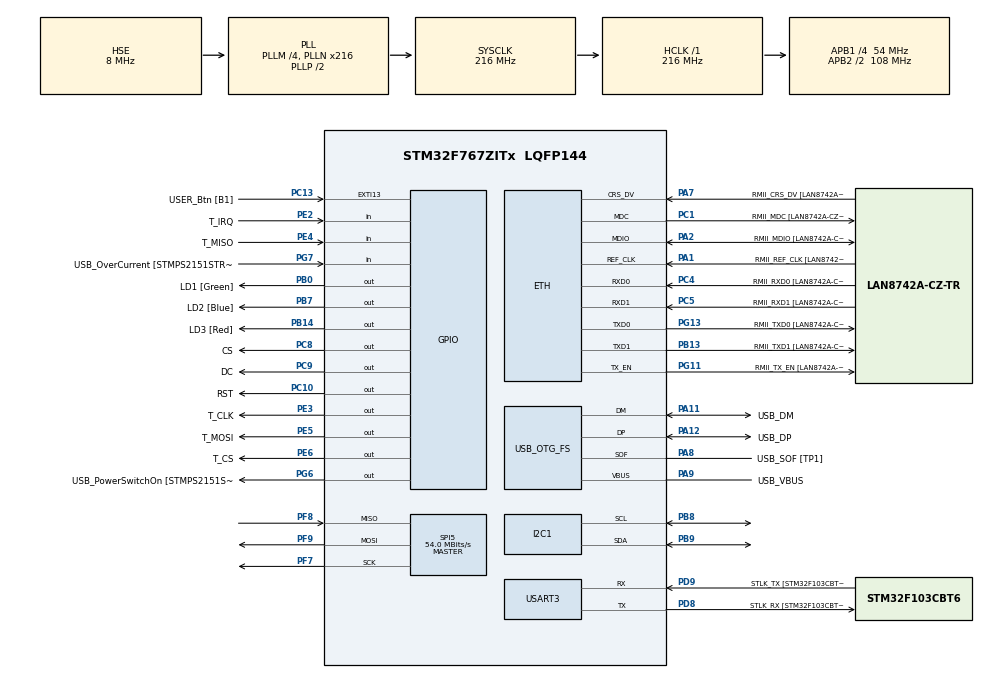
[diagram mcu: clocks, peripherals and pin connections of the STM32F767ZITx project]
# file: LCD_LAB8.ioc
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CORTEX_M7.ART_ACCELERATOR_ENABLE=1
CORTEX_M7.CPU_DCache=Enabled
CORTEX_M7.CPU_ICache=Enabled
CORTEX_M7.PREFETCH_ENABLE=1
ETH.MediaInterface=HAL_ETH_RMII_MODE
ETH.PHY_Name=LAN8742A_PHY_ADDRESS
ETH.PHY_Value=0
ETH.PhyAddress=0
I2C1.Timing=0x20404768
Mcu.Family=STM32F7
Mcu.Name=STM32F767ZITx
Mcu.Package=LQFP144
NVIC.PriorityGroup=NVIC_PRIORITYGROUP_2
NVIC.TIM2_IRQn=true\:1\:0\:true\:false\:true\:true\:true\:true
PA1.GPIO_Label=RMII_REF_CLK [LAN8742A-CZ-TR_REFCLK0]
PA1.Mode=RMII
PA1.Signal=ETH_REF_CLK
PA11.GPIO_Label=USB_DM
PA11.Mode=Device_Only
PA11.Signal=USB_OTG_FS_DM
PA12.GPIO_Label=USB_DP
PA12.Mode=Device_Only
PA12.Signal=USB_OTG_FS_DP
PA13.GPIO_Label=TMS
PA13.Mode=Serial_Wire
PA13.Signal=SYS_JTMS-SWDIO
PA14.GPIO_Label=TCK
PA14.Mode=Serial_Wire
PA14.Signal=SYS_JTCK-SWCLK
PA15.Signal=S_TIM2_CH1_ETR
PA2.GPIO_Label=RMII_MDIO [LAN8742A-CZ-TR_MDIO]
PA2.Mode=RMII
PA2.Signal=ETH_MDIO
PA7.GPIO_Label=RMII_CRS_DV [LAN8742A-CZ-TR_CRS_DV]
PA7.Mode=RMII
PA7.Signal=ETH_CRS_DV
PA8.GPIO_Label=USB_SOF [TP1]
PA8.Mode=Activate_SOF_FS
PA8.Signal=USB_OTG_FS_SOF
PA9.GPIO_Label=USB_VBUS
PA9.Mode=Activate_VBUS
PA9.Signal=USB_OTG_FS_VBUS
PB0.GPIO_Label=LD1 [Green]
PB0.Signal=GPIO_Output
PB13.GPIO_Label=RMII_TXD1 [LAN8742A-CZ-TR_TXD1]
PB13.Mode=RMII
PB13.Signal=ETH_TXD1
PB14.GPIO_Label=LD3 [Red]
PB14.Signal=GPIO_Output
PB3.GPIO_Label=SWO
PB3.Signal=SYS_JTDO-SWO
PB7.GPIO_Label=LD2 [Blue]
PB7.Signal=GPIO_Output
PB8.Mode=I2C
PB8.Signal=I2C1_SCL
PB9.Mode=I2C
PB9.Signal=I2C1_SDA
PC1.GPIO_Label=RMII_MDC [LAN8742A-CZ-TR_MDC]
PC1.Mode=RMII
PC1.Signal=ETH_MDC
PC10.GPIO_Label=RST
PC10.GPIO_Speed=GPIO_SPEED_FREQ_VERY_HIGH
PC10.Signal=GPIO_Output
PC13.GPIO_Label=USER_Btn [B1]
PC13.Signal=GPXTI13
PC14/OSC32_IN.Mode=LSE-External-Oscillator
PC14/OSC32_IN.Signal=RCC_OSC32_IN
PC15/OSC32_OUT.Mode=LSE-External-Oscillator
PC15/OSC32_OUT.Signal=RCC_OSC32_OUT
PC4.GPIO_Label=RMII_RXD0 [LAN8742A-CZ-TR_RXD0]
PC4.Mode=RMII
PC4.Signal=ETH_RXD0
PC5.GPIO_Label=RMII_RXD1 [LAN8742A-CZ-TR_RXD1]
PC5.Mode=RMII
PC5.Signal=ETH_RXD1
PC8.GPIO_Label=CS
PC8.GPIO_Speed=GPIO_SPEED_FREQ_VERY_HIGH
PC8.Signal=GPIO_Output
PC9.GPIO_Label=DC
PC9.GPIO_Speed=GPIO_SPEED_FREQ_VERY_HIGH
PC9.Signal=GPIO_Output
PD8.GPIO_Label=STLK_RX [STM32F103CBT6_PA3]
PD8.Mode=Asynchronous
PD8.Signal=USART3_TX
PD9.GPIO_Label=STLK_TX [STM32F103CBT6_PA2]
PD9.Mode=Asynchronous
PD9.Signal=USART3_RX
PE2.GPIO_Label=T_IRQ
PE2.Signal=GPIO_Input
PE3.GPIO_Label=T_CLK
PE3.GPIO_Speed=GPIO_SPEED_FREQ_VERY_HIGH
PE3.Signal=GPIO_Output
PE4.GPIO_Label=T_MISO
PE4.Signal=GPIO_Input
PE5.GPIO_Label=T_MOSI
PE5.GPIO_Speed=GPIO_SPEED_FREQ_VERY_HIGH
PE5.Signal=GPIO_Output
PE6.GPIO_Label=T_CS
PE6.Signal=GPIO_Output
PF7.Mode=Full_Duplex_Master
PF7.Signal=SPI5_SCK
PF8.Mode=Full_Duplex_Master
PF8.Signal=SPI5_MISO
PF9.Mode=Full_Duplex_Master
PF9.Signal=SPI5_MOSI
PG11.GPIO_Label=RMII_TX_EN [LAN8742A-CZ-TR_TXEN]
PG11.Mode=RMII
PG11.Signal=ETH_TX_EN
PG13.GPIO_Label=RMII_TXD0 [LAN8742A-CZ-TR_TXD0]
PG13.Mode=RMII
PG13.Signal=ETH_TXD0
PG6.GPIO_Label=USB_PowerSwitchOn [STMPS2151STR_EN]
PG6.Signal=GPIO_Output
PG7.GPIO_Label=USB_OverCurrent [STMPS2151STR_FAULT]
PG7.Signal=GPIO_Input
PH0/OSC_IN.GPIO_Label=MCO [STM32F103CBT6_PA8]
PH0/OSC_IN.Mode=HSE-External-Clock-Source
PH0/OSC_IN.Signal=RCC_OSC_IN
PH1/OSC_OUT.Mode=HSE-External-Clock-Source
PH1/OSC_OUT.Signal=RCC_OSC_OUT
ProjectManager.HeapSize=0x200
ProjectManager.StackSize=0x400
ProjectManager.TargetToolchain=STM32CubeIDE
RCC.48MHZClocksFreq_Value=24000000
RCC.AHBFreq_Value=216000000
RCC.APB1CLKDivider=RCC_HCLK_DIV4
RCC.APB1Freq_Value=54000000
RCC.APB1TimFreq_Value=108000000
RCC.APB2CLKDivider=RCC_HCLK_DIV2
RCC.APB2Freq_Value=108000000
RCC.APB2TimFreq_Value=216000000
RCC.CortexFreq_Value=216000000
RCC.HCLKFreq_Value=216000000
RCC.HSE_VALUE=8000000
RCC.HSI_VALUE=16000000
RCC.PLLM=4
RCC.PLLMUL=RCC_PLL_MUL9
RCC.PLLN=216
RCC.PLLQ=9
RCC.PRESCALERUSB=RCC_USBCLKSOURCE_PLL_DIV1_5
RCC.SYSCLKFreq_VALUE=216000000
RCC.SYSCLKSource=RCC_SYSCLKSOURCE_PLLCLK
RCC.SYSCLKSourceVirtual=RCC_SYSCLKSOURCE_PLLCLK
RCC.USBFreq_Value=48000000
RCC.VCOOutputFreq_Value=432000000
SH.S_TIM2_CH1_ETR.0=TIM2_CH1
SPI5.CalculateBaudRate=54.0 MBits/s
SPI5.DataSize=SPI_DATASIZE_8BIT
SPI5.Direction=SPI_DIRECTION_2LINES
SPI5.Mode=SPI_MODE_MASTER
SPI5.NSSPMode=SPI_NSS_PULSE_DISABLE
SPI5.VirtualType=VM_MASTER
TIM2.Period=1000000-1
TIM2.Prescaler=108-1
USART3.VirtualMode-Asynchronous=VM_ASYNC
USB_OTG_FS.VirtualMode=Device_Only
VP_TIM2_VS_ClockSourceINT.Mode=Internal
board=NUCLEO-F767ZI

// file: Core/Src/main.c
/* USER CODE BEGIN Header */
/**
  ******************************************************************************
  * @file           : main.c
  * @brief          : Main program body
  ******************************************************************************
  * @attention
  *
  * Copyright (c) 2025 STMicroelectronics.
  * All rights reserved.
  *
  * This software is licensed under terms that can be found in the LICENSE file
  * in the root directory of this software component.
  * If no LICENSE file comes with this software, it is provided AS-IS.
  *
  ******************************************************************************
  */
/* USER CODE END Header */
#include "main.h"
#include "eth.h"
#include "i2c.h"
#include "spi.h"
#include "tim.h"
#include "usart.h"
#include "usb_otg.h"
#include "gpio.h"
#include "stdio.h"
#include "string.h"

/* USER CODE BEGIN Includes */
#include "ILI9341_GFX.h"
#include "ILI9341_Touchscreen.h"
#include "ILI9341_STM32_Driver.h"
#include "image.h"
#include "conan.h"

/* USER CODE END Includes */

/* USER CODE BEGIN PTD */

int MAX_X = ILI9341_SCREEN_WIDTH;
int MAX_Y = ILI9341_SCREEN_HEIGHT;

float sensor_value = 27.1;
char sensor_value_text[100];

int isUpdate = 1;
int isUpdateSecondPage = 1;

int red_value = 0;
int green_value = 0;
int blue_value = 0;
int color_red = RED;
int color_green = GREEN;
int color_blue = BLUE;

int count_time = 0;

int next_screen = 0;
uint16_t color_big_circle;

int increase_progress_bar_rate = 10;

uint8_t step = 0 ;
float h=30.0, t= 40.0 ;

char str[50];
uint8_t cmdBuffer[3];
uint8_t dataBuffer[8];
HAL_StatusTypeDef status;

/* USER CODE END PTD */

void SystemClock_Config(void);
/* USER CODE BEGIN PFP */
char* isDetectCircle(uint16_t pos_x, uint16_t pos_y);
uint16_t mixedColor(int red_value, int green_value, int blue_value);
int is_detect_picture(uint16_t pos_x, uint16_t pos_y);

uint16_t CRC16_2(uint8_t *ptr, uint8_t length);
/* USER CODE END PFP */

int main(void)
{

  /* Enable the CPU Cache */

  /* Enable I-Cache---------------------------------------------------------*/
  SCB_EnableICache();

  /* Enable D-Cache---------------------------------------------------------*/
  SCB_EnableDCache();

  /* MCU Configuration--------------------------------------------------------*/

  /* Reset of all peripherals, Initializes the Flash interface and the Systick. */
  HAL_Init();

  /* Configure the system clock */
  SystemClock_Config();

  /* Initialize all configured peripherals */
  MX_GPIO_Init();
  MX_ETH_Init();
  MX_USART3_UART_Init();
  MX_USB_OTG_FS_PCD_Init();
  MX_SPI5_Init();
  MX_TIM2_Init();
  MX_I2C1_Init();
  /* USER CODE BEGIN 2 */
  ILI9341_Init();

  cmdBuffer[0]= 0x03;
  cmdBuffer[1]= 0x00;
  cmdBuffer[2]= 0x04;

  /* USER CODE END 2 */

  /* Infinite loop */
  /* USER CODE BEGIN WHILE */

  ILI9341_Fill_Screen(WHITE);
  while (1)
  {
    /* USER CODE END WHILE */

    /* USER CODE BEGIN 3 */
	  if (next_screen == 1){
		  second_screen();
		  isUpdate = 1;
	  }
	  else{
//		  HAL_TIM_Base_Stop_IT(&htim2);
		  main_screen();
		  isUpdateSecondPage = 1;
	  }
  }
  /* USER CODE END 3 */
}

void SystemClock_Config(void)
{
  RCC_OscInitTypeDef RCC_OscInitStruct = {0};
  RCC_ClkInitTypeDef RCC_ClkInitStruct = {0};

  /** Configure LSE Drive Capability
  */
  HAL_PWR_EnableBkUpAccess();

  /** Configure the main internal regulator output voltage
  */
  __HAL_RCC_PWR_CLK_ENABLE();
  __HAL_PWR_VOLTAGESCALING_CONFIG(PWR_REGULATOR_VOLTAGE_SCALE1);

  /** Initializes the RCC Oscillators according to the specified parameters
  * in the RCC_OscInitTypeDef structure.
  */
  RCC_OscInitStruct.OscillatorType = RCC_OSCILLATORTYPE_HSE;
  RCC_OscInitStruct.HSEState = RCC_HSE_BYPASS;
  RCC_OscInitStruct.PLL.PLLState = RCC_PLL_ON;
  RCC_OscInitStruct.PLL.PLLSource = RCC_PLLSOURCE_HSE;
  RCC_OscInitStruct.PLL.PLLM = 4;
  RCC_OscInitStruct.PLL.PLLN = 216;
  RCC_OscInitStruct.PLL.PLLP = RCC_PLLP_DIV2;
  RCC_OscInitStruct.PLL.PLLQ = 9;
  RCC_OscInitStruct.PLL.PLLR = 2;
  if (HAL_RCC_OscConfig(&RCC_OscInitStruct) != HAL_OK)
  {
    Error_Handler();
  }

  /** Activate the Over-Drive mode
  */
  if (HAL_PWREx_EnableOverDrive() != HAL_OK)
  {
    Error_Handler();
  }

  /** Initializes the CPU, AHB and APB buses clocks
  */
  RCC_ClkInitStruct.ClockType = RCC_CLOCKTYPE_HCLK|RCC_CLOCKTYPE_SYSCLK
                              |RCC_CLOCKTYPE_PCLK1|RCC_CLOCKTYPE_PCLK2;
  RCC_ClkInitStruct.SYSCLKSource = RCC_SYSCLKSOURCE_PLLCLK;
  RCC_ClkInitStruct.AHBCLKDivider = RCC_SYSCLK_DIV1;
  RCC_ClkInitStruct.APB1CLKDivider = RCC_HCLK_DIV4;
  RCC_ClkInitStruct.APB2CLKDivider = RCC_HCLK_DIV2;

  if (HAL_RCC_ClockConfig(&RCC_ClkInitStruct, FLASH_LATENCY_7) != HAL_OK)
  {
    Error_Handler();
  }
}

/* USER CODE BEGIN 4 */

void draw_sensor_value(){

	//Wake up sensor
	HAL_I2C_Master_Transmit(&hi2c1, 0x5c << 1 , cmdBuffer, 3,  200);
	//Send reading cmd
	HAL_I2C_Master_Transmit(&hi2c1, 0x5c << 1 , cmdBuffer, 3,  200);

	HAL_Delay(1);

	//Receive sensor data
	HAL_I2C_Master_Receive(&hi2c1, 0x5c << 1, dataBuffer, 8, 200);

	uint16_t Rcrc = dataBuffer[7] << 8;
	Rcrc += dataBuffer[6];

	if (Rcrc == CRC16_2(dataBuffer, 6)) {
		uint16_t temperature = ((dataBuffer[4] & 0x7F) << 8 ) + dataBuffer[5];
		t = temperature / 10.0;
		t = (((dataBuffer[4] & 0x80) >> 7 ) == 1) ? (t *(-1)) : t;

		uint16_t humidity = (dataBuffer[2] << 8 ) + dataBuffer[3];
		h = humidity / 10.0;
	}

	ILI9341_Set_Rotation(SCREEN_HORIZONTAL_1);
	char hum[100];
	char temp[100];

//	*hum = "55.6%%RH";
//	*temp = "27.1C";

	sprintf(hum, "%.1f%%RH", h);
	sprintf(temp, "%.1fC", t);

	int font_size = 2;

	int text_pos_y = 38;
	int temp_pos_x = 22-4;
	int mois_pos_x = 160-4;

	ILI9341_Draw_Text(temp, temp_pos_x, text_pos_y, BLACK, font_size, WHITE);
	ILI9341_Draw_Text(hum, mois_pos_x, text_pos_y, BLACK, font_size, WHITE);

	ILI9341_Set_Rotation(SCREEN_VERTICAL_1);
}
void second_screen(){

	if(isUpdateSecondPage == 1){
		ILI9341_Draw_Image((const char*)image_lcd, SCREEN_HORIZONTAL_1);
		draw_text_character_info();

		HAL_TIM_Base_Start_IT(&htim2);

		isUpdateSecondPage = 0;
	}

	if(count_time == 5){
		ILI9341_Fill_Screen(WHITE);
		ILI9341_Set_Rotation(SCREEN_VERTICAL_1);
		next_screen = 0;
		count_time = 0;

		HAL_TIM_Base_Stop_IT(&htim2);
	}

//	ILI9341_Draw_Filled_Circle(8, 50, 3, RED);
//	ILI9341_Draw_Filled_Circle(121, 50, 3, RED);
//	ILI9341_Draw_Filled_Circle(8, 190, 3, RED);
//	ILI9341_Draw_Filled_Circle(121, 190, 3, RED);

	HAL_Delay(20);
	if(TP_Touchpad_Pressed()){
	  uint16_t x_pos = 0 ;
	  uint16_t y_pos = 0 ;

	  uint16_t pos_array[2];

	  if(TP_Read_Coordinates(pos_array) == TOUCHPAD_DATA_OK){
		  x_pos = pos_array[0];
		  y_pos = pos_array[1];

//		  back to first screen
		  if(is_detect_picture(x_pos, y_pos) == 1){
			  ILI9341_Fill_Screen(WHITE);
			  ILI9341_Set_Rotation(SCREEN_VERTICAL_1);
			  next_screen = 0;
			  count_time = 0;

			  HAL_TIM_Base_Stop_IT(&htim2);
		  }

	  }
	}

}

int is_detect_picture(uint16_t pos_x, uint16_t pos_y ){
	int picture_x1 = 8;
	int picture_x2 = 121;
	int picture_y1 = 50;
	int picture_y2 = 190;

//	ILI9341_Draw_Filled_Circle(picture_x1, picture_y1, 2, RED);
//	ILI9341_Draw_Filled_Circle(picture_x1, picture_y2, 2, RED);
//	ILI9341_Draw_Filled_Circle(picture_x2, picture_y1, 2, RED);
//	ILI9341_Draw_Filled_Circle(picture_x2, picture_y2, 2, RED);

	uint8_t in_x = (pos_x > picture_x1) && (pos_x < picture_x2);
	uint8_t in_y = (pos_y > picture_y1) && (pos_y < picture_y2);

	if(in_x && in_y){
		return 1;
	}
	return 0;
}

void draw_text_character_info(){
	char group[]      = "Group No.41";
	char first_name[] = "   Jimmy  ";
	char last_name[]  = "   Kudo   ";
	char student_id[] = " 66010572 ";

	int div_text_x = 130;
	int shift_y = 32;
	int div_text_start_y = 62;
	int font_size = 2;
	int text_color = color_big_circle;
	int backgorund_color = WHITE;

	int group_pos_x = div_text_x;
	int group_pos_y = div_text_start_y;

	int first_pos_x = div_text_x;
	int first_pos_y = div_text_start_y + shift_y;

	int last_pos_x = div_text_x;
	int last_pos_y = first_pos_y + shift_y;

	int id_pos_x = div_text_x;
	int id_pos_y = last_pos_y + shift_y;

//	ILI9341_Draw_Filled_Circle(20, 80, 10, RED);

	ILI9341_Draw_Text(group, group_pos_x, group_pos_y, text_color , font_size, backgorund_color);
	ILI9341_Draw_Text(first_name, first_pos_x, first_pos_y, text_color , font_size, backgorund_color);
	ILI9341_Draw_Text(last_name, last_pos_x, last_pos_y, text_color , font_size, backgorund_color);
	ILI9341_Draw_Text(student_id, id_pos_x, id_pos_y, text_color , font_size, backgorund_color);

}

void main_screen(){

	if (isUpdate == 1){
		  ILI9341_Draw_Image((const char*)conan, SCREEN_HORIZONTAL_1);
		  ILI9341_Set_Rotation(SCREEN_VERTICAL_1);
		  draw_base_progress_bar();
		  draw_div_circle();
		  isUpdate = 0;
		  color_big_circle = mixedColor(red_value, green_value, blue_value);
	  }

	  draw_big_circle();
	  draw_sensor_value();

	  HAL_Delay(20);
	  if(TP_Touchpad_Pressed()){
		  uint16_t x_pos = 0 ;
		  uint16_t y_pos = 0 ;

		  uint16_t pos_array[2];

		  if(TP_Read_Coordinates(pos_array) == TOUCHPAD_DATA_OK){
			  x_pos = pos_array[0];
			  y_pos = pos_array[1];

			  char *circle_detected = isDetectCircle(x_pos, y_pos);

			  if(circle_detected == "RED"){
				  if (red_value == 100){
					  red_value = 0;
					  draw_base_progress_bar();
//					  draw_div_circle();
				  }else{
					  red_value += increase_progress_bar_rate;
				  }

			  }
			  else if(circle_detected == "GREEN"){
				  if(green_value == 100){
					  green_value = 0;
					  draw_base_progress_bar();
//					  draw_div_circle();
				  }else{
					  green_value += increase_progress_bar_rate;
				  }

			  }
			  else if(circle_detected == "BLUE"){
				  if (blue_value == 100){
					  blue_value = 0;
					  draw_base_progress_bar();
//					  draw_div_circle();
				  }else{
					  blue_value += increase_progress_bar_rate;
				  }
			  }
			  else if(circle_detected == "BIG"){
				  next_screen = 1;
			  }
			  else if(circle_detected == "NONE"){

			  }
		  }
		  color_big_circle = mixedColor(red_value, green_value, blue_value);
	  }

	  draw_value_prog_bar(red_value, green_value, blue_value);

}

char* isDetectCircle(uint16_t pos_x, uint16_t pos_y){
	int red_circle_pos_x = 130;
	int green_circle_pos_x = 80;
	int blue_circle_pos_x = 30;

	int circle_pos_y = 40;

	int circle_radius = 20;

	uint8_t in_red_circle_x = pos_x > red_circle_pos_x - circle_radius &&  pos_x < red_circle_pos_x + circle_radius;
	uint8_t in_red_circle_y =  pos_y > circle_pos_y - circle_radius && pos_y < circle_pos_y + circle_radius;

	uint8_t in_green_circle_x = pos_x > green_circle_pos_x - circle_radius &&  pos_x < green_circle_pos_x + circle_radius;
	uint8_t in_green_circle_y =  pos_y > circle_pos_y - circle_radius && pos_y < circle_pos_y + circle_radius;

	uint8_t in_blue_circle_x = pos_x > blue_circle_pos_x - circle_radius &&  pos_x < blue_circle_pos_x + circle_radius;
	uint8_t in_blue_circle_y =  pos_y > circle_pos_y - circle_radius && pos_y < circle_pos_y + circle_radius;

	int big_circle_pos_x = 196;
	int big_circle_pos_y = 125;
	int big_radius = 25;

	uint8_t in_big_circle_x = pos_x > big_circle_pos_x - big_radius &&  pos_x < big_circle_pos_x + big_radius;
	uint8_t in_big_circle_y =  pos_y > big_circle_pos_y - big_radius && pos_y < big_circle_pos_y + big_radius;

	if (in_red_circle_x && in_red_circle_y){
		return "RED";
	}
	else if(in_green_circle_x && in_green_circle_y){
		return "GREEN";
	}
	else if (in_blue_circle_x && in_blue_circle_y){
		return "BLUE";
	}
	else if(in_big_circle_x && in_big_circle_y){
		return "BIG";
	}
	else{
		return"NONE";
	}
}

void draw_div_circle(void){
	  int div_circle_position_y = 46;
	  int circle_red_position_x = 130;
	  int circle_green_position_x = 80;
	  int circle_blue_position_x = 30;
	  int div_circle_radius = 20;

	  int shift_circle_x = 10;

	  ILI9341_Draw_Filled_Circle(circle_red_position_x + shift_circle_x, div_circle_position_y, div_circle_radius, RED);
	  ILI9341_Draw_Filled_Circle(circle_green_position_x +shift_circle_x,  div_circle_position_y, div_circle_radius, GREEN);
	  ILI9341_Draw_Filled_Circle(circle_blue_position_x +shift_circle_x,  div_circle_position_y, div_circle_radius, BLUE);
}

void draw_big_circle(void){
	int big_circle_position_x = 196;
	int big_circle_position_y = 116;
	int big_radius = 25;
	ILI9341_Draw_Filled_Circle(big_circle_position_x , big_circle_position_y, big_radius, color_big_circle);
}

void draw_base_progress_bar(void){
	int div_prog_bar_position_y = 70;
	int div_prog_bar_position_x = 153;

	int shift_x = 50;
	int prog_bar_base_red_x = div_prog_bar_position_x;
	int prog_bar_base_green_x = div_prog_bar_position_x - shift_x;
	int prog_bar_base_blue_x = prog_bar_base_green_x - shift_x;

	int w_size = 130;
	int h_size = 28;

	const uint16_t prog_bar_base_color_red = 62870;
	const uint16_t prog_bar_base_color_green = 47030;
	const uint16_t prog_bar_base_color_blue = 46590;

	ILI9341_Draw_Filled_Rectangle_Coord(prog_bar_base_red_x, div_prog_bar_position_y, prog_bar_base_red_x -h_size , div_prog_bar_position_y + w_size, prog_bar_base_color_red );
	ILI9341_Draw_Filled_Rectangle_Coord(prog_bar_base_green_x, div_prog_bar_position_y, prog_bar_base_green_x -h_size , div_prog_bar_position_y + w_size, prog_bar_base_color_green );
	ILI9341_Draw_Filled_Rectangle_Coord(prog_bar_base_blue_x, div_prog_bar_position_y, prog_bar_base_blue_x -h_size , div_prog_bar_position_y + w_size, prog_bar_base_color_blue );
}

uint16_t mixedColor(int red_value, int green_value, int blue_value){
	int r = (red_value * 31) / 100;
	int g = (green_value * 63) / 100;
	int b = (blue_value * 31) /100;

	return (r << 11) | (g << 5) | b;
}

uint16_t CRC16_2(uint8_t *ptr, uint8_t length ){
	uint16_t crc = 0xFFFF;
	uint8_t s = 0x00;

	while(length--){
		crc ^= *ptr++;
		for (s=0;s < 8; s++){
			if((crc & 0x01) != 0){
				crc >>= 1;
				crc ^= 0xA001;
			}
			else{
				crc >>=1 ;
			}
		}
	}

	return crc;
}
void draw_value_prog_bar(int red_value, int green_value, int blue_value){
// fill prog bar
	int w_prog_bar_size = 130;
	int h_prog_bar_size = 28;

	int div_prog_bar_position_y = 70;
	int div_prog_bar_position_x = 153;

	int shift_x = 50;
	int prog_bar_base_red_x = div_prog_bar_position_x;
	int prog_bar_base_green_x = prog_bar_base_red_x - shift_x;
	int prog_bar_base_blue_x = prog_bar_base_green_x - shift_x;

	int w_size = 130;
	int h_size = 28;

	int w_size_red = (red_value/100.0)*130;
	int w_size_green = (green_value/100.0)*130;
	int w_size_blue = (blue_value/100.0)*130;

	const uint16_t prog_bar_base_color_red = RED;
	const uint16_t prog_bar_base_color_green = GREEN;
	const uint16_t prog_bar_base_color_blue = BLUE;

	ILI9341_Draw_Filled_Rectangle_Coord(prog_bar_base_red_x, div_prog_bar_position_y, prog_bar_base_red_x -h_size , div_prog_bar_position_y + w_size_red, prog_bar_base_color_red );
	ILI9341_Draw_Filled_Rectangle_Coord(prog_bar_base_green_x, div_prog_bar_position_y, prog_bar_base_green_x -h_size , div_prog_bar_position_y + w_size_green, prog_bar_base_color_green );
	ILI9341_Draw_Filled_Rectangle_Coord(prog_bar_base_blue_x, div_prog_bar_position_y, prog_bar_base_blue_x -h_size , div_prog_bar_position_y + w_size_blue, prog_bar_base_color_blue );

//  print text
	char buf_red[20];
	char buf_green[20];
	char buf_blue[20];

	sprintf(buf_red, "%d%%  ", red_value);
	sprintf(buf_green, "%d%%  ", green_value);
	sprintf(buf_blue, "%d%%  ", blue_value);

	int text_red_position_y = 91;
	int text_green_position_y = text_red_position_y + 50 ;
	int text_blue_position_y = text_green_position_y + 50;

	int size_font = 2;
	int div_position_x = 205;
	ILI9341_Set_Rotation(SCREEN_HORIZONTAL_1);
	ILI9341_Draw_Text(buf_red, div_position_x , text_red_position_y , BLACK , size_font, WHITE);
	ILI9341_Draw_Text(buf_green, div_position_x , text_green_position_y , BLACK , size_font, WHITE);
	ILI9341_Draw_Text(buf_blue, div_position_x , text_blue_position_y , BLACK , size_font, WHITE);
	ILI9341_Set_Rotation(SCREEN_VERTICAL_1);
}

/* USER CODE END 4 */

void Error_Handler(void)
{
  __disable_irq();
  while (1)
  {
  }
}
